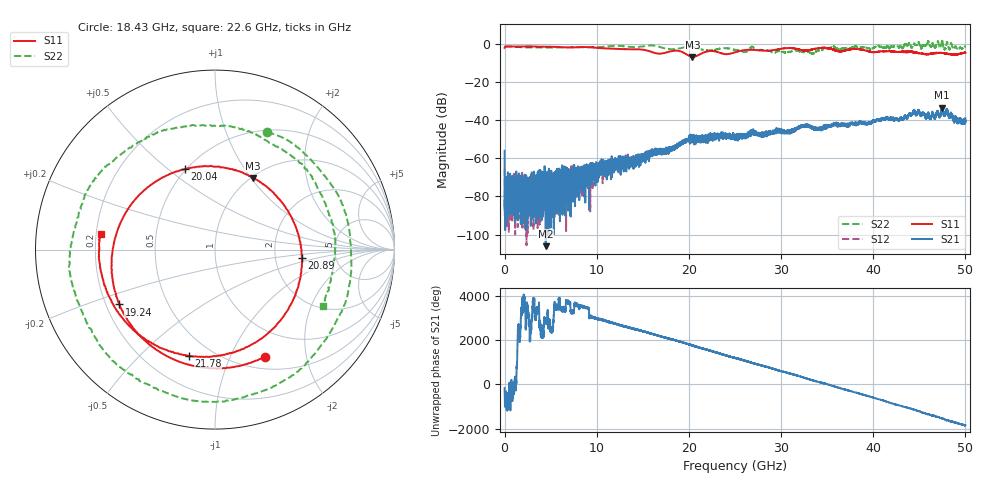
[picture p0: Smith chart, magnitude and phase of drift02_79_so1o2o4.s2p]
!Created with skrf (http://scikit-rf.org).
# Hz S RI R 50.0
!freq ReS11 ImS11 ReS21 ImS21 ReS12 ImS12 ReS22 ImS22
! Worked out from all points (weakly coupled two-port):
!   10001 points, 300 kHz to 50 GHz, reference 50 ohm
!   highest |S21| = -33.49 dB at 47.48 GHz (marker M1); lowest = -106.1 dB at 4.46 GHz (marker M2)
!   lowest |S11| = -6.9 dB at 20.38 GHz (marker M3), VSWR 2.64, Z = 50.9 + j50.9 ohm
!   |S11| at or under -10 dB: nowhere
!   |S22| runs from -5.3 to 1.7 dB; largest |S21 - S12| = 0.0035
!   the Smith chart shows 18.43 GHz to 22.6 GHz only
!   S11 on the Smith chart (normalised r, x): 18.43 GHz: 0.64, -1.36; 19.24 GHz: 0.25, -0.25; 20.04 GHz: 0.49, +0.57; 20.89 GHz: 2.85, -0.36; 21.78 GHz: 0.38, -0.71; 22.6 GHz: 0.22, +0.06
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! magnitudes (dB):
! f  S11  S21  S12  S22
! 300 kHz  -2.1  -56.1  -65.5  -1.3
! 255.3 MHz  -1.4  -87.2  -75.5  -1.4
! 4.46 GHz  -1.6  -106.1  -76.8  -2.0
! 8.335 GHz  -1.7  -68.5  -70.9  -1.9
! 16.67 GHz  -5.2  -55.6  -55.7  -1.4
! 18.43 GHz  -3.6  -54.4  -53.9  -2.9
! 19.24 GHz  -4.2  -51.4  -52.0  -2.1
! 20.04 GHz  -6.4  -50.4  -49.1  -1.5
! 20.38 GHz  -6.9  -49.6  -49.8  -1.7
! 20.89 GHz  -6.3  -50.9  -49.7  -2.1
! 21.78 GHz  -4.3  -48.9  -49.9  -3.5
! 22.6 GHz  -3.8  -48.5  -48.9  -3.4
! 25 GHz  -4.5  -48.8  -48.7  -3.2
! 26.11 GHz  -3.3  -47.8  -48.1  -4.3
! 26.91 GHz  -3.2  -46.9  -46.4  -1.6
! 33.34 GHz  -3.1  -43.4  -43.9  -5.2
! 34.89 GHz  -2.2  -43.6  -44.2  -2.2
! 41.67 GHz  -3.9  -39.2  -39.3  -2.0
! 44.62 GHz  -4.7  -36.9  -36.7  -0.6
! 46.01 GHz  -5.4  -36.6  -36.6  1.2
! 47.48 GHz  -4.8  -33.5  -33.7  1.3
! 50 GHz  -4.8  -39.0  -39.7  -1.6
